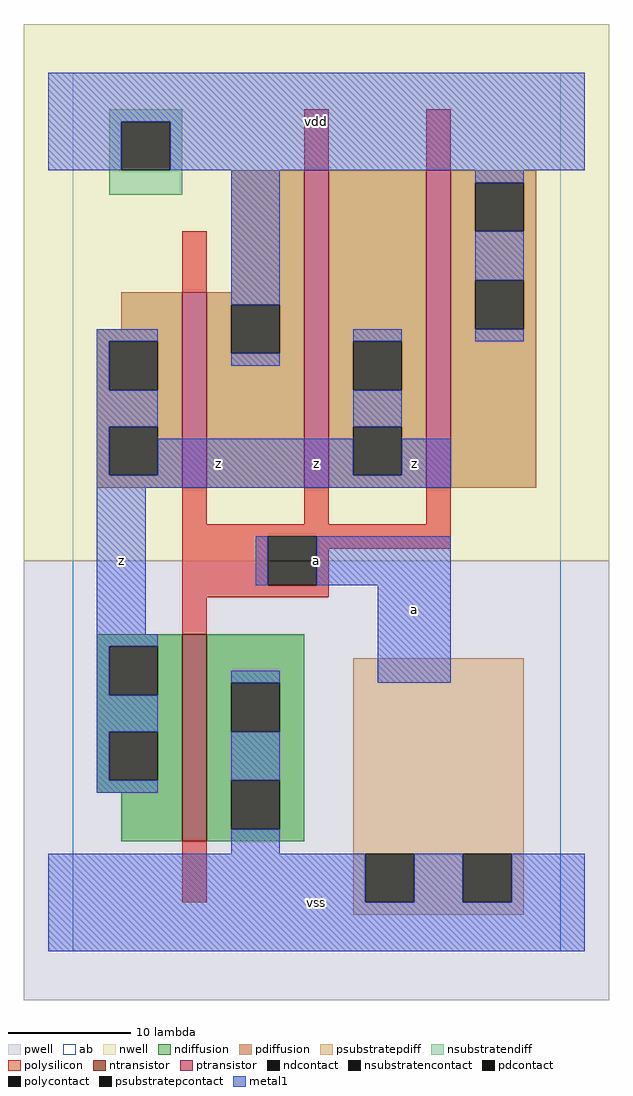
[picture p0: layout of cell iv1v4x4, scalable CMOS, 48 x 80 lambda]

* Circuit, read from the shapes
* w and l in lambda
.subckt iv1v4x4 a vdd vss z
M1 vss a z vss nfet w=17 l=2
M2 vdd a z vdd pfet w=16 l=2
M3 z a vdd vdd pfet w=26 l=2 m=2
.ends

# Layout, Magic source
magic
tech scmos
<< ab >>
rect 0 0 40 72
<< pwell >>
rect -4 -4 44 32
<< nwell >>
rect -4 32 44 76
<< polysilicon >>
rect 19 64 21 69
rect 29 64 31 69
rect 9 54 11 59
rect 9 35 11 38
rect 19 35 21 38
rect 29 35 31 38
rect 9 34 31 35
rect 9 30 16 34
rect 20 33 31 34
rect 20 30 21 33
rect 9 29 21 30
rect 9 26 11 29
rect 9 4 11 9
<< ndiffusion >>
rect 2 25 9 26
rect 2 21 3 25
rect 7 21 9 25
rect 2 18 9 21
rect 2 14 3 18
rect 7 14 9 18
rect 2 13 9 14
rect 4 9 9 13
rect 11 22 19 26
rect 11 18 13 22
rect 17 18 19 22
rect 11 14 19 18
rect 11 10 13 14
rect 17 10 19 14
rect 11 9 19 10
<< pdiffusion >>
rect 13 54 19 64
rect 4 51 9 54
rect 2 50 9 51
rect 2 46 3 50
rect 7 46 9 50
rect 2 43 9 46
rect 2 39 3 43
rect 7 39 9 43
rect 2 38 9 39
rect 11 53 19 54
rect 11 49 13 53
rect 17 49 19 53
rect 11 38 19 49
rect 21 50 29 64
rect 21 46 23 50
rect 27 46 29 50
rect 21 43 29 46
rect 21 39 23 43
rect 27 39 29 43
rect 21 38 29 39
rect 31 63 38 64
rect 31 59 33 63
rect 37 59 38 63
rect 31 55 38 59
rect 31 51 33 55
rect 37 51 38 55
rect 31 38 38 51
<< metal1 >>
rect -2 68 42 72
rect -2 64 4 68
rect 8 64 42 68
rect 13 53 17 64
rect 2 50 7 51
rect 2 46 3 50
rect 33 63 37 64
rect 33 55 37 59
rect 13 48 17 49
rect 23 50 27 51
rect 33 50 37 51
rect 2 43 7 46
rect 2 39 3 43
rect 23 43 27 46
rect 7 39 23 42
rect 27 39 31 42
rect 2 38 31 39
rect 2 26 6 38
rect 15 30 16 34
rect 20 30 31 34
rect 2 25 7 26
rect 2 21 3 25
rect 2 18 7 21
rect 2 14 3 18
rect 2 13 7 14
rect 13 22 17 23
rect 25 22 31 30
rect 13 14 17 18
rect 13 8 17 10
rect -2 4 24 8
rect 28 4 32 8
rect 36 4 42 8
rect -2 0 42 4
<< ntransistor >>
rect 9 9 11 26
<< ptransistor >>
rect 9 38 11 54
rect 19 38 21 64
rect 29 38 31 64
<< polycontact >>
rect 16 30 20 34
<< ndcontact >>
rect 3 21 7 25
rect 3 14 7 18
rect 13 18 17 22
rect 13 10 17 14
<< pdcontact >>
rect 3 46 7 50
rect 3 39 7 43
rect 13 49 17 53
rect 23 46 27 50
rect 23 39 27 43
rect 33 59 37 63
rect 33 51 37 55
<< psubstratepcontact >>
rect 24 4 28 8
rect 32 4 36 8
<< nsubstratencontact >>
rect 4 64 8 68
<< psubstratepdiff >>
rect 23 8 37 24
rect 23 4 24 8
rect 28 4 32 8
rect 36 4 37 8
rect 23 3 37 4
<< nsubstratendiff >>
rect 3 68 9 69
rect 3 64 4 68
rect 8 64 9 68
rect 3 62 9 64
<< labels >>
rlabel metal1 4 32 4 32 6 z
rlabel metal1 12 40 12 40 6 z
rlabel metal1 20 4 20 4 6 vss
rlabel metal1 20 32 20 32 6 a
rlabel metal1 28 28 28 28 6 a
rlabel metal1 28 40 28 40 6 z
rlabel metal1 20 40 20 40 6 z
rlabel metal1 20 68 20 68 6 vdd
<< end >>
